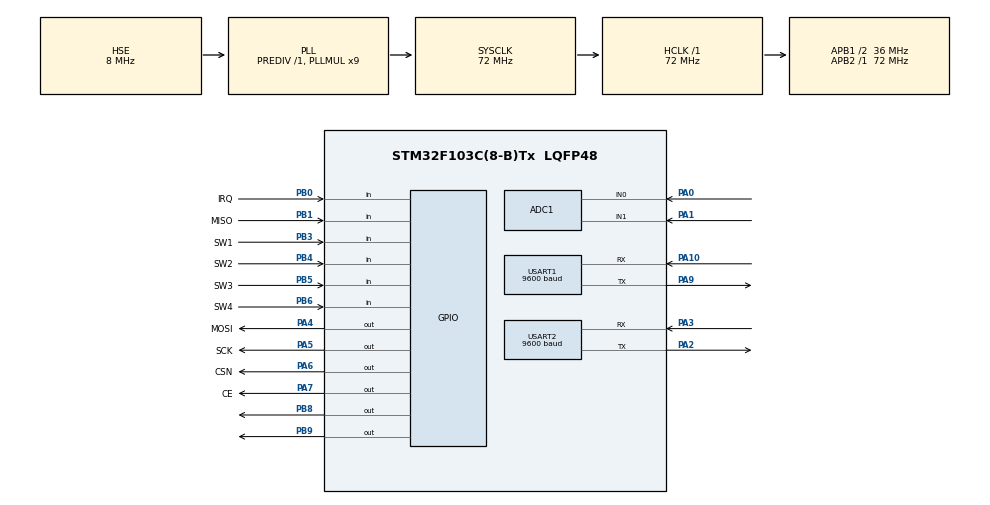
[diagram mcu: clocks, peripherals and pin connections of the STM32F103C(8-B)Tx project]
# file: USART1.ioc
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ADC1.Channel-1\#ChannelRegularConversion=ADC_CHANNEL_0
ADC1.Channel-2\#ChannelRegularConversion=ADC_CHANNEL_1
ADC1.ContinuousConvMode=ENABLE
ADC1.NbrOfConversion=2
ADC1.NbrOfConversionFlag=1
ADC1.Rank-1\#ChannelRegularConversion=1
ADC1.Rank-2\#ChannelRegularConversion=2
ADC1.SamplingTime-1\#ChannelRegularConversion=ADC_SAMPLETIME_1CYCLE_5
ADC1.SamplingTime-2\#ChannelRegularConversion=ADC_SAMPLETIME_1CYCLE_5
ADC1.master=1
Dma.Request0=USART2_RX
Dma.USART2_RX.0.Direction=DMA_PERIPH_TO_MEMORY
Dma.USART2_RX.0.Instance=DMA1_Channel6
Dma.USART2_RX.0.MemDataAlignment=DMA_MDATAALIGN_BYTE
Dma.USART2_RX.0.MemInc=DMA_MINC_ENABLE
Dma.USART2_RX.0.Mode=DMA_NORMAL
Dma.USART2_RX.0.PeriphDataAlignment=DMA_PDATAALIGN_BYTE
Dma.USART2_RX.0.PeriphInc=DMA_PINC_DISABLE
Dma.USART2_RX.0.Priority=DMA_PRIORITY_LOW
Mcu.Family=STM32F1
Mcu.Name=STM32F103C(8-B)Tx
Mcu.Package=LQFP48
NVIC.DMA1_Channel6_IRQn=true\:0\:0\:false\:false\:true\:false\:true\:true
NVIC.PriorityGroup=NVIC_PRIORITYGROUP_4
NVIC.USART1_IRQn=true\:0\:0\:false\:false\:true\:true\:true\:true
NVIC.USART2_IRQn=true\:0\:0\:false\:false\:true\:true\:true\:true
PA0-WKUP.Signal=ADCx_IN0
PA1.Signal=ADCx_IN1
PA10.Mode=Asynchronous
PA10.Signal=USART1_RX
PA13.Mode=Serial_Wire
PA13.Signal=SYS_JTMS-SWDIO
PA14.Mode=Serial_Wire
PA14.Signal=SYS_JTCK-SWCLK
PA2.Mode=Asynchronous
PA2.Signal=USART2_TX
PA3.Mode=Asynchronous
PA3.Signal=USART2_RX
PA4.GPIO_Label=MOSI
PA4.GPIO_ModeDefaultOutputPP=GPIO_MODE_OUTPUT_PP
PA4.GPIO_Speed=GPIO_SPEED_FREQ_HIGH
PA4.PinState=GPIO_PIN_RESET
PA4.Signal=GPIO_Output
PA5.GPIO_Label=SCK
PA5.GPIO_ModeDefaultOutputPP=GPIO_MODE_OUTPUT_PP
PA5.GPIO_Speed=GPIO_SPEED_FREQ_HIGH
PA5.Signal=GPIO_Output
PA6.GPIO_Label=CSN
PA6.GPIO_Speed=GPIO_SPEED_FREQ_HIGH
PA6.Signal=GPIO_Output
PA7.GPIO_Label=CE
PA7.GPIO_ModeDefaultOutputPP=GPIO_MODE_OUTPUT_PP
PA7.GPIO_Speed=GPIO_SPEED_FREQ_HIGH
PA7.PinState=GPIO_PIN_RESET
PA7.Signal=GPIO_Output
PA9.Mode=Asynchronous
PA9.Signal=USART1_TX
PB0.GPIO_Label=IRQ
PB0.GPIO_PuPd=GPIO_PULLUP
PB0.Signal=GPIO_Input
PB1.GPIO_Label=MISO
PB1.GPIO_PuPd=GPIO_PULLUP
PB1.Signal=GPIO_Input
PB3.GPIO_Label=SW1
PB3.GPIO_PuPd=GPIO_PULLUP
PB3.Signal=GPIO_Input
PB4.GPIO_Label=SW2
PB4.GPIO_PuPd=GPIO_PULLUP
PB4.Signal=GPIO_Input
PB5.GPIO_Label=SW3
PB5.GPIO_PuPd=GPIO_PULLUP
PB5.Signal=GPIO_Input
PB6.GPIO_Label=SW4
PB6.GPIO_PuPd=GPIO_PULLUP
PB6.Signal=GPIO_Input
PB8.GPIO_ModeDefaultOutputPP=GPIO_MODE_OUTPUT_OD
PB8.GPIO_PuPd=GPIO_NOPULL
PB8.Signal=GPIO_Output
PB9.GPIO_ModeDefaultOutputPP=GPIO_MODE_OUTPUT_OD
PB9.GPIO_PuPd=GPIO_NOPULL
PB9.Signal=GPIO_Output
PC14-OSC32_IN.Mode=LSE-External-Oscillator
PC14-OSC32_IN.Signal=RCC_OSC32_IN
PC15-OSC32_OUT.Mode=LSE-External-Oscillator
PC15-OSC32_OUT.Signal=RCC_OSC32_OUT
PD0-OSC_IN.Mode=HSE-External-Oscillator
PD0-OSC_IN.Signal=RCC_OSC_IN
PD1-OSC_OUT.Mode=HSE-External-Oscillator
PD1-OSC_OUT.Signal=RCC_OSC_OUT
ProjectManager.HeapSize=0x200
ProjectManager.StackSize=0x400
ProjectManager.TargetToolchain=MDK-ARM V5.32
RCC.AHBFreq_Value=72000000
RCC.APB1CLKDivider=RCC_HCLK_DIV2
RCC.APB1Freq_Value=36000000
RCC.APB1TimFreq_Value=72000000
RCC.APB2Freq_Value=72000000
RCC.APB2TimFreq_Value=72000000
RCC.HCLKFreq_Value=72000000
RCC.PLLMUL=RCC_PLL_MUL9
RCC.PLLSourceVirtual=RCC_PLLSOURCE_HSE
RCC.SYSCLKFreq_VALUE=72000000
RCC.SYSCLKSource=RCC_SYSCLKSOURCE_PLLCLK
RCC.USBFreq_Value=72000000
SH.ADCx_IN0.0=ADC1_IN0,IN0
SH.ADCx_IN1.0=ADC1_IN1,IN1
USART1.BaudRate=9600
USART1.VirtualMode=VM_ASYNC
USART2.BaudRate=9600
USART2.VirtualMode=VM_ASYNC
board=custom

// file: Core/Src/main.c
/* USER CODE BEGIN Header */
/**
  ******************************************************************************
  * @file           : main.c
  * @brief          : Main program body
  ******************************************************************************
  * @attention
  *
  * Copyright (c) 2024 STMicroelectronics.
  * All rights reserved.
  *
  * This software is licensed under terms that can be found in the LICENSE file
  * in the root directory of this software component.
  * If no LICENSE file comes with this software, it is provided AS-IS.
  *
  ******************************************************************************
  */
/* USER CODE END Header */
#include "main.h"
#include "adc.h"
#include "dma.h"
#include "usart.h"
#include "gpio.h"

/* USER CODE BEGIN Includes */
#include "OLED.h"
#include <stdio.h>
#include <string.h>
#include "PS.h"
#include "NRF24L01.h"
#include "delay.h"
#include "PS.h"
#include "key.h"
/* USER CODE END Includes */

void SystemClock_Config(void);

int main(void)
{

  /* MCU Configuration--------------------------------------------------------*/

  /* Reset of all peripherals, Initializes the Flash interface and the Systick. */
  HAL_Init();

  /* Configure the system clock */
  SystemClock_Config();

  /* Initialize all configured peripherals */
  MX_GPIO_Init();
  MX_DMA_Init();
  MX_USART1_UART_Init();
  MX_USART2_UART_Init();
  MX_ADC1_Init();
  /* USER CODE BEGIN 2 */
	OLED_Init();
	NRF24L01_Init();
	printf("system is ok!");
	OLED_ShowString(1, 1, "ok1!");
    EnableUartIT();

	uint32_t count = 0;

	uint8_t Buf[32] = {0x00,0x00,0x00,0x00,0x00,0x00} ;
//	uint8_t PS_value = 0;
	uint8_t Key_value = 0;
  /* USER CODE END 2 */

  /* Infinite loop */
  /* USER CODE BEGIN WHILE */
    while (1)
    {

//		Get_ADC_value();
		Key_value = Key_GetNum();
//		PS_value = Med_Ps2_Scan();
		show_key();
//		OLED_ShowNum(1,1,count++,3);
		Buf[0] = Key_value;
		Send(Buf);
		HAL_Delay(50);
		Buf[0] = 0;

//		show_ps2();

    /* USER CODE END WHILE */

    }
}

void SystemClock_Config(void)
{
  RCC_OscInitTypeDef RCC_OscInitStruct = {0};
  RCC_ClkInitTypeDef RCC_ClkInitStruct = {0};
  RCC_PeriphCLKInitTypeDef PeriphClkInit = {0};

  /** Initializes the RCC Oscillators according to the specified parameters
  * in the RCC_OscInitTypeDef structure.
  */
  RCC_OscInitStruct.OscillatorType = RCC_OSCILLATORTYPE_HSE;
  RCC_OscInitStruct.HSEState = RCC_HSE_ON;
  RCC_OscInitStruct.HSEPredivValue = RCC_HSE_PREDIV_DIV1;
  RCC_OscInitStruct.HSIState = RCC_HSI_ON;
  RCC_OscInitStruct.PLL.PLLState = RCC_PLL_ON;
  RCC_OscInitStruct.PLL.PLLSource = RCC_PLLSOURCE_HSE;
  RCC_OscInitStruct.PLL.PLLMUL = RCC_PLL_MUL9;
  if (HAL_RCC_OscConfig(&RCC_OscInitStruct) != HAL_OK)
  {
    Error_Handler();
  }

  /** Initializes the CPU, AHB and APB buses clocks
  */
  RCC_ClkInitStruct.ClockType = RCC_CLOCKTYPE_HCLK|RCC_CLOCKTYPE_SYSCLK
                              |RCC_CLOCKTYPE_PCLK1|RCC_CLOCKTYPE_PCLK2;
  RCC_ClkInitStruct.SYSCLKSource = RCC_SYSCLKSOURCE_PLLCLK;
  RCC_ClkInitStruct.AHBCLKDivider = RCC_SYSCLK_DIV1;
  RCC_ClkInitStruct.APB1CLKDivider = RCC_HCLK_DIV2;
  RCC_ClkInitStruct.APB2CLKDivider = RCC_HCLK_DIV1;

  if (HAL_RCC_ClockConfig(&RCC_ClkInitStruct, FLASH_LATENCY_2) != HAL_OK)
  {
    Error_Handler();
  }
  PeriphClkInit.PeriphClockSelection = RCC_PERIPHCLK_ADC;
  PeriphClkInit.AdcClockSelection = RCC_ADCPCLK2_DIV2;
  if (HAL_RCCEx_PeriphCLKConfig(&PeriphClkInit) != HAL_OK)
  {
    Error_Handler();
  }
}

/* USER CODE BEGIN 4 */
int fputc(int ch, FILE *f)
{
    HAL_UART_Transmit(&huart1, (uint8_t *)&ch, 1, 0xffff);
    return ch;
}

/* USER CODE END 4 */

void Error_Handler(void)
{
    __disable_irq();
    while (1)
    {
    }
}
